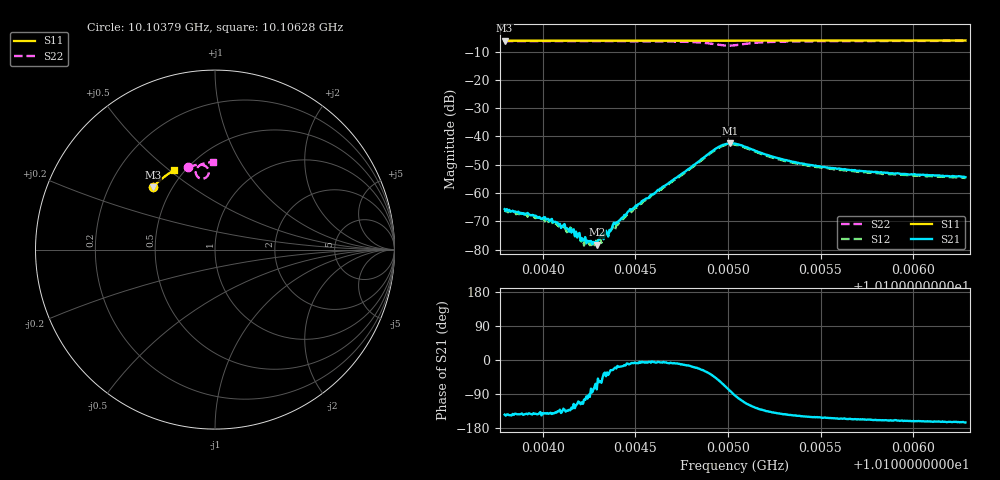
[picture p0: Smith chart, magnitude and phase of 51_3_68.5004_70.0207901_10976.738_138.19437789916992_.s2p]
#  HZ  S  RI  R  50.00
! Rohde & Schwarz Vector Network Analyzer
! Rohde-Schwarz,ZNB20-2Port,1311601062101988,3.16
! Created: UTC 3/20/2024, 4:50:51 PM
! freq[Hz]  re:S11  im:S11  re:S21  im:S21  re:S12  im:S12  re:S22  im:S22
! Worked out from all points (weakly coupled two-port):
!   401 points, 10.10379 GHz to 10.10628 GHz, reference 50 ohm
!   highest |S21| = -42.43 dB at 10.10501 GHz (marker M1); lowest = -78.2 dB at 10.10429 GHz (marker M2)
!   lowest |S11| = -6.2 dB at 10.10379 GHz (marker M3), VSWR 2.93, Z = 19.6 + j17.9 ohm
!   |S11| at or under -10 dB: nowhere
!   |S22| runs from -7.9 to -6.2 dB; largest |S21 - S12| = 0.00076
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1.0103794e10  -0.3471 0.347  -0.000421 -0.000304  -0.000399 -0.000297  -0.1484 0.4598
1.0104049e10  -0.3365 0.3582  -0.000277 -0.000212  -0.000212 -0.000233  -0.1309 0.4653
1.0104105e10  -0.3339 0.3607  -0.000186 -0.000181  -0.000168 -0.00022  -0.1269 0.4667
1.010413e10  -0.3329 0.3618  -0.000165 -0.000174  -0.000122 -0.000162  -0.1251 0.4672
1.0104155e10  -0.3318 0.363  -0.000117 -0.000163  -0.00014 -0.000189  -0.1233 0.4677
1.0104186e10  -0.3305 0.3642  -7.33e-05 -0.000147  -8.57e-05 -0.000144  -0.1209 0.4682
1.0104211e10  -0.3295 0.3653  -5.91e-05 -0.000149  -9.8e-06 -0.000139  -0.119 0.4688
1.0104267e10  -0.3269 0.3677  9.28e-06 -0.000125  3.16e-05 -0.000111  -0.1147 0.4698
1.0104292e10  -0.3258 0.3688  2.69e-05 -0.00012  7.1e-05 -0.000148  -0.1126 0.4702
1.0104317e10  -0.3248 0.3699  9.57e-05 -0.000168  8.71e-05 -9.9e-05  -0.1105 0.4708
1.010436e10  -0.3229 0.3716  0.000188 -0.000122  0.000188 -7.37e-05  -0.107 0.4714
1.0104385e10  -0.3217 0.3726  0.000278 -0.000116  0.000245 -7.76e-05  -0.1048 0.4718
1.0104466e10  -0.318 0.3759  0.000471 -9.64e-05  0.000443 -3.8e-05  -0.0974 0.4728
1.0104628e10  -0.3108 0.3827  0.00113 -0.000103  0.0011 -8.02e-06  -0.0799 0.4734
1.0104932e10  -0.2964 0.3943  0.00415 -0.00438  0.00435 -0.0038  -0.0359 0.4229
1.0104976e10  -0.2944 0.3957  0.00304 -0.00647  0.00346 -0.00593  -0.0501 0.4018
1.0105013e10  -0.2927 0.397  0.00101 -0.00749  0.00158 -0.00708  -0.0733 0.3951
1.0105038e10  -0.2917 0.398  -0.000478 -0.00746  0.000214 -0.00714  -0.088 0.3992
1.010525e10  -0.2819 0.4063  -0.00324 -0.00283  -0.00288 -0.00299  -0.0964 0.4598
1.0105455e10  -0.272 0.4137  -0.0027 -0.00152  -0.00243 -0.00166  -0.0743 0.4749
1.0105872e10  -0.2509 0.4278  -0.0021 -0.000775  -0.00193 -0.000945  -0.0398 0.4846
1.0106282e10  -0.2296 0.4408  -0.00184 -0.000495  -0.00173 -0.000655  -0.0103 0.4881
